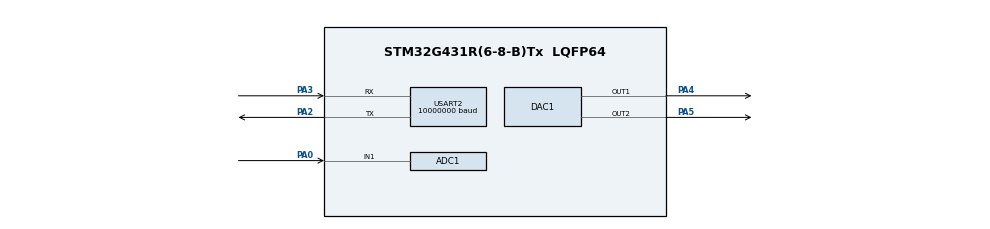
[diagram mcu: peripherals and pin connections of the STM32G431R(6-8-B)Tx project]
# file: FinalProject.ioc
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ADC1.Channel-1\#ChannelRegularConversion=ADC_CHANNEL_1
ADC1.ClockPrescaler=ADC_CLOCK_ASYNC_DIV1
ADC1.DMAContinuousRequests=ENABLE
ADC1.ExternalTrigConv=ADC_EXTERNALTRIG_T3_TRGO
ADC1.NbrOfConversionFlag=1
ADC1.OffsetNumber-1\#ChannelRegularConversion=ADC_OFFSET_NONE
ADC1.Rank-1\#ChannelRegularConversion=1
ADC1.SamplingTime-1\#ChannelRegularConversion=ADC_SAMPLETIME_2CYCLES_5
ADC1.master=1
DAC1.DAC_Channel-DAC_OUT2=DAC_CHANNEL_2
DAC1.DAC_OutputBuffer-DAC_OUT1=DAC_OUTPUTBUFFER_ENABLE
DAC1.DAC_OutputBuffer-DAC_OUT2=DAC_OUTPUTBUFFER_ENABLE
DAC1.DAC_Trigger_OUT1-DAC_OUT1=DAC_TRIGGER_T4_TRGO
DAC1.DAC_Trigger_OUT2-DAC_OUT2=DAC_TRIGGER_T8_TRGO
Dma.ADC1.1.Direction=DMA_PERIPH_TO_MEMORY
Dma.ADC1.1.EventEnable=DISABLE
Dma.ADC1.1.Instance=DMA1_Channel3
Dma.ADC1.1.MemDataAlignment=DMA_MDATAALIGN_HALFWORD
Dma.ADC1.1.MemInc=DMA_MINC_ENABLE
Dma.ADC1.1.Mode=DMA_CIRCULAR
Dma.ADC1.1.PeriphDataAlignment=DMA_PDATAALIGN_HALFWORD
Dma.ADC1.1.PeriphInc=DMA_PINC_DISABLE
Dma.ADC1.1.Polarity=HAL_DMAMUX_REQ_GEN_RISING
Dma.ADC1.1.Priority=DMA_PRIORITY_LOW
Dma.ADC1.1.RequestNumber=1
Dma.ADC1.1.SignalID=NONE
Dma.ADC1.1.SyncEnable=DISABLE
Dma.ADC1.1.SyncPolarity=HAL_DMAMUX_SYNC_NO_EVENT
Dma.ADC1.1.SyncRequestNumber=1
Dma.ADC1.1.SyncSignalID=NONE
Dma.DAC1_CH1.0.Direction=DMA_MEMORY_TO_PERIPH
Dma.DAC1_CH1.0.EventEnable=DISABLE
Dma.DAC1_CH1.0.Instance=DMA1_Channel1
Dma.DAC1_CH1.0.MemDataAlignment=DMA_MDATAALIGN_HALFWORD
Dma.DAC1_CH1.0.MemInc=DMA_MINC_ENABLE
Dma.DAC1_CH1.0.Mode=DMA_CIRCULAR
Dma.DAC1_CH1.0.PeriphDataAlignment=DMA_PDATAALIGN_WORD
Dma.DAC1_CH1.0.PeriphInc=DMA_PINC_DISABLE
Dma.DAC1_CH1.0.Polarity=HAL_DMAMUX_REQ_GEN_RISING
Dma.DAC1_CH1.0.Priority=DMA_PRIORITY_HIGH
Dma.DAC1_CH1.0.RequestNumber=1
Dma.DAC1_CH1.0.SignalID=NONE
Dma.DAC1_CH1.0.SyncEnable=DISABLE
Dma.DAC1_CH1.0.SyncPolarity=HAL_DMAMUX_SYNC_NO_EVENT
Dma.DAC1_CH1.0.SyncRequestNumber=1
Dma.DAC1_CH1.0.SyncSignalID=NONE
Dma.DAC1_CH2.2.Direction=DMA_MEMORY_TO_PERIPH
Dma.DAC1_CH2.2.EventEnable=DISABLE
Dma.DAC1_CH2.2.Instance=DMA1_Channel2
Dma.DAC1_CH2.2.MemDataAlignment=DMA_MDATAALIGN_HALFWORD
Dma.DAC1_CH2.2.MemInc=DMA_MINC_ENABLE
Dma.DAC1_CH2.2.Mode=DMA_CIRCULAR
Dma.DAC1_CH2.2.PeriphDataAlignment=DMA_PDATAALIGN_WORD
Dma.DAC1_CH2.2.PeriphInc=DMA_PINC_DISABLE
Dma.DAC1_CH2.2.Polarity=HAL_DMAMUX_REQ_GEN_RISING
Dma.DAC1_CH2.2.Priority=DMA_PRIORITY_HIGH
Dma.DAC1_CH2.2.RequestNumber=1
Dma.DAC1_CH2.2.SignalID=NONE
Dma.DAC1_CH2.2.SyncEnable=DISABLE
Dma.DAC1_CH2.2.SyncPolarity=HAL_DMAMUX_SYNC_NO_EVENT
Dma.DAC1_CH2.2.SyncRequestNumber=1
Dma.DAC1_CH2.2.SyncSignalID=NONE
Dma.Request0=DAC1_CH1
Dma.Request1=ADC1
Dma.Request2=DAC1_CH2
Mcu.Family=STM32G4
Mcu.Name=STM32G431R(6-8-B)Tx
Mcu.Package=LQFP64
NVIC.DMA1_Channel1_IRQn=true\:0\:0\:false\:false\:true\:false\:true\:true
NVIC.DMA1_Channel2_IRQn=true\:0\:0\:false\:false\:true\:false\:true\:true
NVIC.DMA1_Channel3_IRQn=true\:0\:0\:false\:false\:true\:false\:true\:true
NVIC.PriorityGroup=NVIC_PRIORITYGROUP_4
NVIC.USART2_IRQn=true\:0\:0\:true\:false\:true\:true\:true\:true
PA0.Mode=IN1-Single-Ended
PA0.Signal=ADC1_IN1
PA13.Mode=Serial_Wire
PA13.Signal=SYS_JTMS-SWDIO
PA14.Mode=Serial_Wire
PA14.Signal=SYS_JTCK-SWCLK
PA2.GPIO_PuPd=GPIO_PULLUP
PA2.GPIO_Speed=GPIO_SPEED_FREQ_LOW
PA2.Mode=Asynchronous
PA2.Signal=USART2_TX
PA3.GPIO_PuPd=GPIO_PULLUP
PA3.GPIO_Speed=GPIO_SPEED_FREQ_LOW
PA3.Mode=Asynchronous
PA3.Signal=USART2_RX
PA4.Signal=COMP_DAC11_group
PA5.Signal=COMP_DAC12_group
PF0-OSC_IN.Mode=HSE-External-Oscillator
PF0-OSC_IN.Signal=RCC_OSC_IN
PF1-OSC_OUT.Mode=HSE-External-Oscillator
PF1-OSC_OUT.Signal=RCC_OSC_OUT
ProjectManager.HeapSize=0x200
ProjectManager.StackSize=0x400
ProjectManager.TargetToolchain=STM32CubeIDE
RCC.ADC12CLockSelection=RCC_ADC12CLKSOURCE_PLL
RCC.ADC12Freq_Value=34000000
RCC.AHBFreq_Value=170000000
RCC.APB1Freq_Value=170000000
RCC.APB1TimFreq_Value=170000000
RCC.APB2Freq_Value=170000000
RCC.APB2TimFreq_Value=170000000
RCC.CortexFreq_Value=170000000
RCC.EXTERNAL_CLOCK_VALUE=12288000
RCC.HCLKFreq_Value=170000000
RCC.HSE_VALUE=24000000
RCC.HSI48_VALUE=48000000
RCC.HSI_VALUE=16000000
RCC.LSE_VALUE=32768
RCC.PLLM=RCC_PLLM_DIV6
RCC.PLLN=85
RCC.PLLP=RCC_PLLP_DIV10
RCC.PLLSourceVirtual=RCC_PLLSOURCE_HSE
RCC.SYSCLKFreq_VALUE=170000000
RCC.SYSCLKSource=RCC_SYSCLKSOURCE_PLLCLK
RCC.USBFreq_Value=170000000
RCC.VCOOutputFreq_Value=340000000
SH.COMP_DAC11_group.0=DAC1_OUT1,DAC_OUT1
SH.COMP_DAC12_group.0=DAC1_OUT2,DAC_OUT2
TIM3.PeriodNoDither=9
TIM3.Prescaler=169
TIM3.TIM_MasterOutputTrigger=TIM_TRGO_UPDATE
TIM4.PeriodNoDither=849
TIM4.Prescaler=0
TIM4.TIM_MasterOutputTrigger=TIM_TRGO_UPDATE
TIM8.PeriodNoDither=849
TIM8.Prescaler=0
TIM8.TIM_MasterOutputTrigger=TIM_TRGO_UPDATE
TIM8.TIM_MasterOutputTrigger2=TIM_TRGO2_RESET
USART2.AutoBaudRateEnableParam=UART_ADVFEATURE_AUTOBAUDRATE_DISABLE
USART2.BaudRate=10000000
USART2.FIFOMode=FIFOMODE_ENABLE
USART2.RXFIFOThreshold=RXFIFO_THRESHOLD_FULL
USART2.VirtualMode-Asynchronous=VM_ASYNC
VP_SYS_VS_DBSignals.Mode=DisableDeadBatterySignals
VP_TIM3_VS_ClockSourceINT.Mode=Internal
VP_TIM4_VS_ClockSourceINT.Mode=Internal
VP_TIM8_VS_ClockSourceINT.Mode=Internal
board=custom

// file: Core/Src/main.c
/* USER CODE BEGIN Header */
/**
 ******************************************************************************
 * @file           : main.c
 * @brief          : Main program body
 ******************************************************************************
 * @attention
 *
 * Copyright (c) 2024 STMicroelectronics.
 * All rights reserved.
 *
 * This software is licensed under terms that can be found in the LICENSE file
 * in the root directory of this software component.
 * If no LICENSE file comes with this software, it is provided AS-IS.
 *
 ******************************************************************************
 */
/* USER CODE END Header */
#include "main.h"

/* USER CODE BEGIN PD */
//------------------------------------------------
#define ADC_CONVERTED_DATA_BUFFER_SIZE (uint16_t) 2000
#define DAC_BUFFER_SIZE (uint16_t) 200

#define RXBUFFERSIZE 20
//#define NUM_CHANNELS 2
//------------------------------------------------

/* USER CODE END PD */

ADC_HandleTypeDef hadc1;
DMA_HandleTypeDef hdma_adc1;

DAC_HandleTypeDef hdac1;
DMA_HandleTypeDef hdma_dac1_ch1;
DMA_HandleTypeDef hdma_dac1_ch2;

TIM_HandleTypeDef htim3;
TIM_HandleTypeDef htim4;
TIM_HandleTypeDef htim8;

UART_HandleTypeDef huart2;

/* USER CODE BEGIN PV */
//------------------------------------------------
uint16_t ADC1ConvertedValue = 0;
int i = 0;

//基波
uint16_t SineWaveData[DAC_BUFFER_SIZE ] = { 2047, 2112, 2176, 2240, 2304, 2368,
		2431, 2494, 2557, 2619, 2680, 2741, 2801, 2860, 2919, 2977, 3034, 3090,
		3144, 3198, 3251, 3302, 3352, 3401, 3449, 3495, 3540, 3583, 3625, 3665,
		3704, 3741, 3776, 3809, 3841, 3871, 3900, 3926, 3951, 3973, 3994, 4013,
		4030, 4045, 4058, 4069, 4078, 4085, 4090, 4093, 4094, 4093, 4090, 4085,
		4078, 4069, 4058, 4045, 4030, 4013, 3994, 3973, 3951, 3926, 3900, 3871,
		3841, 3809, 3776, 3741, 3704, 3665, 3625, 3583, 3540, 3495, 3449, 3401,
		3352, 3302, 3251, 3198, 3144, 3090, 3034, 2977, 2919, 2860, 2801, 2741,
		2680, 2619, 2557, 2494, 2431, 2368, 2304, 2240, 2176, 2112, 2048, 1983,
		1919, 1855, 1791, 1727, 1664, 1601, 1538, 1476, 1415, 1354, 1294, 1235,
		1176, 1118, 1061, 1005, 951, 897, 844, 793, 743, 694, 646, 600, 555,
		512, 470, 430, 391, 354, 319, 286, 254, 224, 195, 169, 144, 122, 101,
		82, 65, 50, 37, 26, 17, 10, 5, 2, 0, 2, 5, 10, 17, 26, 37, 50, 65, 82,
		101, 122, 144, 169, 195, 224, 254, 286, 319, 354, 391, 430, 470, 512,
		555, 600, 646, 694, 743, 793, 844, 897, 951, 1005, 1061, 1118, 1176,
		1235, 1294, 1354, 1415, 1476, 1538, 1601, 1664, 1727, 1791, 1855, 1919,
		1983 };

//3次諧波
uint16_t SineWaveData_3rdHarmonic[DAC_BUFFER_SIZE ] = { 2047, 2147, 2246, 2344,
		2441, 2536, 2629, 2718, 2805, 2888, 2968, 3043, 3113, 3179, 3240, 3296,
		3347, 3393, 3433, 3467, 3497, 3521, 3540, 3554, 3563, 3567, 3567, 3564,
		3556, 3545, 3530, 3514, 3494, 3473, 3450, 3427, 3402, 3377, 3352, 3328,
		3304, 3282, 3261, 3241, 3224, 3209, 3196, 3186, 3179, 3175, 3173, 3175,
		3179, 3186, 3196, 3209, 3224, 3241, 3261, 3282, 3304, 3328, 3352, 3377,
		3402, 3427, 3450, 3473, 3494, 3514, 3530, 3545, 3556, 3564, 3567, 3567,
		3563, 3554, 3540, 3521, 3497, 3467, 3433, 3393, 3347, 3296, 3240, 3179,
		3113, 3043, 2968, 2888, 2805, 2718, 2629, 2536, 2441, 2344, 2246, 2147,
		2048, 1948, 1849, 1751, 1654, 1559, 1466, 1377, 1290, 1207, 1127, 1052,
		982, 916, 855, 799, 748, 702, 662, 628, 598, 574, 555, 541, 532, 528,
		528, 531, 539, 550, 565, 581, 601, 622, 645, 668, 693, 718, 743, 767,
		791, 813, 834, 854, 871, 886, 899, 909, 916, 920, 922, 920, 916, 909,
		899, 886, 871, 854, 834, 813, 791, 767, 743, 718, 693, 668, 645, 622,
		601, 581, 565, 550, 539, 531, 528, 528, 532, 541, 555, 574, 598, 628,
		662, 702, 748, 799, 855, 916, 982, 1052, 1127, 1207, 1290, 1377, 1466,
		1559, 1654, 1751, 1849, 1948 };

//5次諧波
uint16_t SineWaveData_5thHarmonic[DAC_BUFFER_SIZE ] = { 2047, 2179, 2308, 2434,
		2554, 2666, 2768, 2861, 2941, 3010, 3065, 3108, 3137, 3154, 3159, 3153,
		3137, 3113, 3083, 3048, 3010, 2971, 2933, 2898, 2868, 2844, 2827, 2820,
		2823, 2836, 2861, 2896, 2943, 3001, 3069, 3145, 3228, 3318, 3412, 3508,
		3605, 3700, 3792, 3878, 3957, 4027, 4086, 4134, 4169, 4190, 4197, 4190,
		4169, 4134, 4086, 4027, 3957, 3878, 3792, 3700, 3605, 3508, 3412, 3318,
		3228, 3145, 3069, 3001, 2943, 2896, 2861, 2836, 2823, 2820, 2827, 2844,
		2868, 2898, 2933, 2971, 3010, 3048, 3083, 3113, 3137, 3153, 3159, 3154,
		3137, 3108, 3065, 3010, 2941, 2861, 2768, 2666, 2554, 2434, 2308, 2179,
		2048, 1916, 1787, 1661, 1541, 1429, 1327, 1234, 1154, 1085, 1030, 987,
		958, 941, 936, 942, 958, 982, 1012, 1047, 1085, 1124, 1162, 1197, 1227,
		1251, 1268, 1275, 1272, 1259, 1234, 1199, 1152, 1094, 1026, 950, 867,
		777, 683, 587, 490, 395, 303, 217, 138, 68, 9, -39, -74, -95, -102, -95,
		-74, -39, 9, 68, 138, 217, 303, 395, 490, 587, 683, 777, 867, 950, 1026,
		1094, 1152, 1199, 1234, 1259, 1272, 1275, 1268, 1251, 1227, 1197, 1162,
		1124, 1085, 1047, 1012, 982, 958, 942, 936, 941, 958, 987, 1030, 1085,
		1154, 1234, 1327, 1429, 1541, 1661, 1787, 1916 };

//7次諧波
uint16_t SineWaveData_7thHarmonic[DAC_BUFFER_SIZE ] = { 2047, 2211, 2368, 2515,
		2647, 2760, 2850, 2916, 2957, 2974, 2968, 2941, 2897, 2841, 2777, 2711,
		2648, 2593, 2552, 2527, 2523, 2542, 2584, 2649, 2736, 2844, 2967, 3103,
		3245, 3390, 3530, 3662, 3780, 3880, 3958, 4012, 4040, 4042, 4019, 3972,
		3906, 3823, 3730, 3630, 3529, 3433, 3346, 3273, 3219, 3185, 3173, 3185,
		3219, 3273, 3346, 3433, 3529, 3630, 3730, 3823, 3906, 3972, 4019, 4042,
		4040, 4012, 3958, 3880, 3780, 3662, 3530, 3390, 3245, 3103, 2967, 2844,
		2736, 2649, 2584, 2542, 2523, 2527, 2552, 2593, 2648, 2711, 2777, 2841,
		2897, 2941, 2968, 2974, 2957, 2916, 2850, 2760, 2647, 2515, 2368, 2211,
		2047, 1884, 1727, 1580, 1448, 1335, 1245, 1179, 1138, 1121, 1127, 1154,
		1198, 1254, 1318, 1384, 1447, 1502, 1543, 1568, 1572, 1553, 1511, 1446,
		1359, 1251, 1128, 992, 850, 705, 565, 433, 315, 215, 137, 83, 55, 53,
		76, 123, 189, 272, 365, 465, 566, 662, 749, 822, 876, 910, 922, 910,
		876, 822, 749, 662, 566, 465, 365, 272, 189, 123, 76, 53, 55, 83, 137,
		215, 315, 433, 565, 705, 850, 992, 1128, 1251, 1359, 1446, 1511, 1553,
		1572, 1568, 1543, 1502, 1447, 1384, 1318, 1254, 1198, 1154, 1127, 1121,
		1138, 1179, 1245, 1335, 1448, 1580, 1727, 1884 };

//9次諧波
uint16_t SineWaveData_9thHarmonic[DAC_BUFFER_SIZE ] = { 2047, 2242, 2425, 2585,
		2716, 2809, 2862, 2874, 2849, 2792, 2712, 2618, 2523, 2437, 2372, 2335,
		2334, 2372, 2449, 2564, 2709, 2878, 3059, 3242, 3415, 3567, 3690, 3775,
		3820, 3823, 3786, 3716, 3619, 3505, 3387, 3274, 3179, 3110, 3074, 3077,
		3118, 3197, 3307, 3442, 3592, 3745, 3890, 4016, 4114, 4176, 4197, 4176,
		4114, 4016, 3890, 3745, 3592, 3442, 3307, 3197, 3118, 3077, 3074, 3110,
		3179, 3274, 3387, 3505, 3619, 3716, 3786, 3823, 3820, 3775, 3690, 3567,
		3415, 3242, 3059, 2878, 2709, 2564, 2449, 2372, 2334, 2335, 2372, 2437,
		2523, 2618, 2712, 2792, 2849, 2874, 2862, 2809, 2716, 2585, 2425, 2242,
		2048, 1853, 1670, 1510, 1379, 1286, 1233, 1221, 1246, 1303, 1383, 1477,
		1572, 1658, 1723, 1760, 1761, 1723, 1646, 1531, 1386, 1217, 1036, 853,
		680, 528, 405, 320, 275, 272, 309, 379, 476, 590, 708, 821, 916, 985,
		1021, 1018, 977, 898, 788, 653, 503, 350, 205, 79, -19, -81, -102, -81,
		-19, 79, 205, 350, 503, 653, 788, 898, 977, 1018, 1021, 985, 916, 821,
		708, 590, 476, 379, 309, 272, 275, 320, 405, 528, 680, 853, 1036, 1217,
		1386, 1531, 1646, 1723, 1761, 1760, 1723, 1658, 1572, 1477, 1383, 1303,
		1246, 1221, 1233, 1286, 1379, 1510, 1670, 1853 };

//方波
uint16_t SquareWaveData[DAC_BUFFER_SIZE ] = { 2047, 4094, 4094, 4094, 4094,
		4094, 4094, 4094, 4094, 4094, 4094, 4094, 4094, 4094, 4094, 4094, 4094,
		4094, 4094, 4094, 4094, 4094, 4094, 4094, 4094, 4094, 4094, 4094, 4094,
		4094, 4094, 4094, 4094, 4094, 4094, 4094, 4094, 4094, 4094, 4094, 4094,
		4094, 4094, 4094, 4094, 4094, 4094, 4094, 4094, 4094, 4094, 4094, 4094,
		4094, 4094, 4094, 4094, 4094, 4094, 4094, 4094, 4094, 4094, 4094, 4094,
		4094, 4094, 4094, 4094, 4094, 4094, 4094, 4094, 4094, 4094, 4094, 4094,
		4094, 4094, 4094, 4094, 4094, 4094, 4094, 4094, 4094, 4094, 4094, 4094,
		4094, 4094, 4094, 4094, 4094, 4094, 4094, 4094, 4094, 4094, 4094, 4094,
		0, 0, 0, 0, 0, 0, 0, 0, 0, 0, 0, 0, 0, 0, 0, 0, 0, 0, 0, 0, 0, 0, 0, 0,
		0, 0, 0, 0, 0, 0, 0, 0, 0, 0, 0, 0, 0, 0, 0, 0, 0, 0, 0, 0, 0, 0, 0, 0,
		0, 0, 0, 0, 0, 0, 0, 0, 0, 0, 0, 0, 0, 0, 0, 0, 0, 0, 0, 0, 0, 0, 0, 0,
		0, 0, 0, 0, 0, 0, 0, 0, 0, 0, 0, 0, 0, 0, 0, 0, 0, 0, 0, 0, 0, 0, 0, 0,
		0, 0, 0 };

//三角波
uint16_t TriangleWaveData[DAC_BUFFER_SIZE ] = { 0, 41, 82, 123, 164, 205, 246,
		287, 328, 369, 410, 451, 492, 533, 574, 615, 656, 696, 737, 778, 819,
		860, 901, 942, 983, 1024, 1065, 1106, 1147, 1188, 1229, 1270, 1311,
		1352, 1392, 1433, 1474, 1515, 1556, 1597, 1638, 1679, 1720, 1761, 1802,
		1843, 1884, 1925, 1966, 2007, 2048, 2088, 2129, 2170, 2211, 2252, 2293,
		2334, 2375, 2416, 2457, 2498, 2539, 2580, 2621, 2662, 2703, 2743, 2784,
		2825, 2866, 2907, 2948, 2989, 3030, 3071, 3112, 3153, 3194, 3235, 3276,
		3317, 3358, 3399, 3439, 3480, 3521, 3562, 3603, 3644, 3685, 3726, 3767,
		3808, 3849, 3890, 3931, 3972, 4013, 4054, 4094, 4054, 4013, 3972, 3931,
		3890, 3849, 3808, 3767, 3726, 3685, 3644, 3603, 3562, 3521, 3480, 3439,
		3399, 3358, 3317, 3276, 3235, 3194, 3153, 3112, 3071, 3030, 2989, 2948,
		2907, 2866, 2825, 2784, 2743, 2703, 2662, 2621, 2580, 2539, 2498, 2457,
		2416, 2375, 2334, 2293, 2252, 2211, 2170, 2129, 2088, 2047, 2007, 1966,
		1925, 1884, 1843, 1802, 1761, 1720, 1679, 1638, 1597, 1556, 1515, 1474,
		1433, 1392, 1352, 1311, 1270, 1229, 1188, 1147, 1106, 1065, 1024, 983,
		942, 901, 860, 819, 778, 737, 696, 656, 615, 574, 533, 492, 451, 410,
		369, 328, 287, 246, 205, 164, 123, 82, 41 };

uint16_t WaveData[DAC_BUFFER_SIZE ] = { 0 };
uint16_t Channel = 0;

uint16_t ADC1ConvertedData[ADC_CONVERTED_DATA_BUFFER_SIZE ];
uint16_t FrameHeader = 0x5353;
uint16_t FrameTerm = 0x4545;

uint8_t CommFlag = 0;
uint8_t RxBuffer[RXBUFFERSIZE] = { 0 };

//初值
uint16_t Ch1_Amp = 2024;
uint16_t Ch1_Freq = 1000;
uint16_t Ch1_Phrase = 0;
uint16_t Ch1_Har3 = 0;
uint16_t Ch1_Har5 = 0;
uint16_t Ch1_Har7 = 0;
uint16_t Ch1_Har9 = 0;
uint16_t Ch1_Type = 0;

uint16_t Ch2_Amp = 4096;
uint16_t Ch2_Freq = 10000;
uint16_t Ch2_Phrase = 0;
uint16_t Ch2_Har3 = 0;
uint16_t Ch2_Har5 = 0;
uint16_t Ch2_Har7 = 0;
uint16_t Ch2_Har9 = 0;
uint16_t Ch2_Type = 1;
//------------------------------------------------

/* USER CODE END PV */

void SystemClock_Config(void);
static void MX_GPIO_Init(void);
static void MX_DMA_Init(void);
static void MX_DAC1_Init(void);
static void MX_ADC1_Init(void);
static void MX_TIM4_Init(void);
static void MX_USART2_UART_Init(void);
static void MX_TIM3_Init(void);
static void MX_TIM8_Init(void);

int main(void) {

	/* MCU Configuration--------------------------------------------------------*/

	/* Reset of all peripherals, Initializes the Flash interface and the Systick. */
	HAL_Init();

	/* Configure the system clock */
	SystemClock_Config();

	/* Initialize all configured peripherals */
	MX_GPIO_Init();
	MX_DMA_Init();
	MX_DAC1_Init();
	MX_ADC1_Init();
	MX_TIM4_Init();
	MX_USART2_UART_Init();
	MX_TIM3_Init();
	MX_TIM8_Init();
	/* USER CODE BEGIN 2 */
	HAL_TIM_Base_Start(&htim3);
	HAL_TIM_Base_Start(&htim4);
	HAL_DAC_Start_DMA(&hdac1, DAC_CHANNEL_1, (uint32_t*) SineWaveData,
	DAC_BUFFER_SIZE, DAC_ALIGN_12B_R);
	HAL_ADCEx_Calibration_Start(&hadc1, ADC_SINGLE_ENDED);
	HAL_ADC_Start_DMA(&hadc1, (uint32_t*) &ADC1ConvertedData,
	ADC_CONVERTED_DATA_BUFFER_SIZE);

	HAL_UART_Receive_IT(&huart2, (uint8_t*) RxBuffer, RXBUFFERSIZE);

	/* USER CODE END 2 */

	/* Infinite loop */
	/* USER CODE BEGIN WHILE */
	//printf("Please Enter What Type of Wave You Want:\r\n");
	while (1) {
		/* USER CODE END WHILE */

		/* USER CODE BEGIN 3 */
		//------------------------------------------------
		if (CommFlag == 1) {
			// Channel输出波形
			if (Channel == 0) {
				// 停止定时器，设置定时器频率并重新启动
				HAL_TIM_Base_Stop(&htim4);
				__HAL_TIM_SET_AUTORELOAD(&htim4, 850000.0 / Ch1_Freq - 1);
				HAL_TIM_Base_Start(&htim4);

				// 停止DAC通道1的DMA传输
				HAL_DAC_Stop_DMA(&hdac1, DAC_CHANNEL_1);

				// 生成不同的波形数据
				for (i = 0; i < DAC_BUFFER_SIZE ; i++) {
					switch (Ch1_Type) {
					case 0: // 正弦波加谐波
						WaveData[i] = (uint16_t) (Ch1_Amp / 4095.0
								* (SineWaveData[i]
										+ Ch1_Har3 * 0.01
												* SineWaveData_3rdHarmonic[i]
										+ Ch1_Har5 * 0.01
												* SineWaveData_5thHarmonic[i]
										+ Ch1_Har7 * 0.01
												* SineWaveData_7thHarmonic[i]
										+ Ch1_Har9 * 0.01
												* SineWaveData_9thHarmonic[i]));
						break;
					case 1: // 方波
						WaveData[i] = (uint16_t) (Ch1_Amp / 4095.0
								* SquareWaveData[i]);
						break;
					case 2: // 三角波
						WaveData[i] = (uint16_t) (Ch1_Amp / 4095.0
								* TriangleWaveData[i]);
						break;
					default:
						break;
					}
				}

				HAL_Delay(50);
				HAL_DAC_Start_DMA(&hdac1, DAC_CHANNEL_1, (uint32_t*) WaveData,
						DAC_BUFFER_SIZE, DAC_ALIGN_12B_R);

				// Channel输出波形
			} else if (Channel == 1) {
				// 停止定时器，设置定时器频率并重新启动
				HAL_TIM_Base_Stop(&htim8);
				__HAL_TIM_SET_AUTORELOAD(&htim8, 850000.0 / Ch2_Freq - 1);
				HAL_TIM_Base_Start(&htim8);

				// 停止DAC通道2的DMA传输
				HAL_DAC_Stop_DMA(&hdac1, DAC_CHANNEL_2);

				// 生成不同的波形数据
				for (i = 0; i < DAC_BUFFER_SIZE ; i++) {
					switch (Ch2_Type) {
					case 0: // 正弦波加谐波
						WaveData[i] = (uint16_t) (Ch2_Amp / 4095.0
								* (SineWaveData[i]
										+ Ch2_Har3 * 0.01
												* SineWaveData_3rdHarmonic[i]
										+ Ch2_Har5 * 0.01
												* SineWaveData_5thHarmonic[i]
										+ Ch2_Har7 * 0.01
												* SineWaveData_7thHarmonic[i]
										+ Ch2_Har9 * 0.01
												* SineWaveData_9thHarmonic[i]));
						break;
					case 1: // 方波
						WaveData[i] = (uint16_t) (Ch2_Amp / 4095.0
								* SquareWaveData[i]);
						break;
					case 2: // 三角波
						WaveData[i] = (uint16_t) (Ch2_Amp / 4095.0
								* TriangleWaveData[i]);
						break;
					default:
						break;
					}
				}

				HAL_Delay(50);
				HAL_DAC_Start_DMA(&hdac1, DAC_CHANNEL_2, (uint32_t*) WaveData,
						DAC_BUFFER_SIZE, DAC_ALIGN_12B_R);
			}
			CommFlag = 0;
		}

	//------------------------------------------------
}

/* USER CODE END 3 */
}

void SystemClock_Config(void) {
RCC_OscInitTypeDef RCC_OscInitStruct = { 0 };
RCC_ClkInitTypeDef RCC_ClkInitStruct = { 0 };

/** Configure the main internal regulator output voltage
 */
HAL_PWREx_ControlVoltageScaling(PWR_REGULATOR_VOLTAGE_SCALE1_BOOST);

/** Initializes the RCC Oscillators according to the specified parameters
 * in the RCC_OscInitTypeDef structure.
 */
RCC_OscInitStruct.OscillatorType = RCC_OSCILLATORTYPE_HSE;
RCC_OscInitStruct.HSEState = RCC_HSE_ON;
RCC_OscInitStruct.PLL.PLLState = RCC_PLL_ON;
RCC_OscInitStruct.PLL.PLLSource = RCC_PLLSOURCE_HSE;
RCC_OscInitStruct.PLL.PLLM = RCC_PLLM_DIV6;
RCC_OscInitStruct.PLL.PLLN = 85;
RCC_OscInitStruct.PLL.PLLP = RCC_PLLP_DIV10;
RCC_OscInitStruct.PLL.PLLQ = RCC_PLLQ_DIV2;
RCC_OscInitStruct.PLL.PLLR = RCC_PLLR_DIV2;
if (HAL_RCC_OscConfig(&RCC_OscInitStruct) != HAL_OK) {
	Error_Handler();
}

/** Initializes the CPU, AHB and APB buses clocks
 */
RCC_ClkInitStruct.ClockType = RCC_CLOCKTYPE_HCLK | RCC_CLOCKTYPE_SYSCLK
		| RCC_CLOCKTYPE_PCLK1 | RCC_CLOCKTYPE_PCLK2;
RCC_ClkInitStruct.SYSCLKSource = RCC_SYSCLKSOURCE_PLLCLK;
RCC_ClkInitStruct.AHBCLKDivider = RCC_SYSCLK_DIV1;
RCC_ClkInitStruct.APB1CLKDivider = RCC_HCLK_DIV1;
RCC_ClkInitStruct.APB2CLKDivider = RCC_HCLK_DIV1;

if (HAL_RCC_ClockConfig(&RCC_ClkInitStruct, FLASH_LATENCY_4) != HAL_OK) {
	Error_Handler();
}
}

static void MX_ADC1_Init(void) {

ADC_MultiModeTypeDef multimode = { 0 };
ADC_ChannelConfTypeDef sConfig = { 0 };

/** Common config
 */
hadc1.Instance = ADC1;
hadc1.Init.ClockPrescaler = ADC_CLOCK_ASYNC_DIV1;
hadc1.Init.Resolution = ADC_RESOLUTION_12B;
hadc1.Init.DataAlign = ADC_DATAALIGN_RIGHT;
hadc1.Init.GainCompensation = 0;
hadc1.Init.ScanConvMode = ADC_SCAN_DISABLE;
hadc1.Init.EOCSelection = ADC_EOC_SINGLE_CONV;
hadc1.Init.LowPowerAutoWait = DISABLE;
hadc1.Init.ContinuousConvMode = DISABLE;
hadc1.Init.NbrOfConversion = 1;
hadc1.Init.DiscontinuousConvMode = DISABLE;
hadc1.Init.ExternalTrigConv = ADC_EXTERNALTRIG_T3_TRGO;
hadc1.Init.ExternalTrigConvEdge = ADC_EXTERNALTRIGCONVEDGE_RISING;
hadc1.Init.DMAContinuousRequests = ENABLE;
hadc1.Init.Overrun = ADC_OVR_DATA_PRESERVED;
hadc1.Init.OversamplingMode = DISABLE;
if (HAL_ADC_Init(&hadc1) != HAL_OK) {
	Error_Handler();
}

/** Configure the ADC multi-mode
 */
multimode.Mode = ADC_MODE_INDEPENDENT;
if (HAL_ADCEx_MultiModeConfigChannel(&hadc1, &multimode) != HAL_OK) {
	Error_Handler();
}

/** Configure Regular Channel
 */
sConfig.Channel = ADC_CHANNEL_1;
sConfig.Rank = ADC_REGULAR_RANK_1;
sConfig.SamplingTime = ADC_SAMPLETIME_2CYCLES_5;
sConfig.SingleDiff = ADC_SINGLE_ENDED;
sConfig.OffsetNumber = ADC_OFFSET_NONE;
sConfig.Offset = 0;
if (HAL_ADC_ConfigChannel(&hadc1, &sConfig) != HAL_OK) {
	Error_Handler();
}

}

static void MX_DAC1_Init(void) {

DAC_ChannelConfTypeDef sConfig = { 0 };

/** DAC Initialization
 */
hdac1.Instance = DAC1;
if (HAL_DAC_Init(&hdac1) != HAL_OK) {
	Error_Handler();
}

/** DAC channel OUT1 config
 */
sConfig.DAC_HighFrequency = DAC_HIGH_FREQUENCY_INTERFACE_MODE_AUTOMATIC;
sConfig.DAC_DMADoubleDataMode = DISABLE;
sConfig.DAC_SignedFormat = DISABLE;
sConfig.DAC_SampleAndHold = DAC_SAMPLEANDHOLD_DISABLE;
sConfig.DAC_Trigger = DAC_TRIGGER_T4_TRGO;
sConfig.DAC_Trigger2 = DAC_TRIGGER_NONE;
sConfig.DAC_OutputBuffer = DAC_OUTPUTBUFFER_ENABLE;
sConfig.DAC_ConnectOnChipPeripheral = DAC_CHIPCONNECT_EXTERNAL;
sConfig.DAC_UserTrimming = DAC_TRIMMING_FACTORY;
if (HAL_DAC_ConfigChannel(&hdac1, &sConfig, DAC_CHANNEL_1) != HAL_OK) {
	Error_Handler();
}

/** DAC channel OUT2 config
 */
sConfig.DAC_Trigger = DAC_TRIGGER_T8_TRGO;
if (HAL_DAC_ConfigChannel(&hdac1, &sConfig, DAC_CHANNEL_2) != HAL_OK) {
	Error_Handler();
}

}

static void MX_TIM3_Init(void) {

TIM_ClockConfigTypeDef sClockSourceConfig = { 0 };
TIM_MasterConfigTypeDef sMasterConfig = { 0 };

htim3.Instance = TIM3;
htim3.Init.Prescaler = 169;
htim3.Init.CounterMode = TIM_COUNTERMODE_UP;
htim3.Init.Period = 9;
htim3.Init.ClockDivision = TIM_CLOCKDIVISION_DIV1;
htim3.Init.AutoReloadPreload = TIM_AUTORELOAD_PRELOAD_DISABLE;
if (HAL_TIM_Base_Init(&htim3) != HAL_OK) {
	Error_Handler();
}
sClockSourceConfig.ClockSource = TIM_CLOCKSOURCE_INTERNAL;
if (HAL_TIM_ConfigClockSource(&htim3, &sClockSourceConfig) != HAL_OK) {
	Error_Handler();
}
sMasterConfig.MasterOutputTrigger = TIM_TRGO_UPDATE;
sMasterConfig.MasterSlaveMode = TIM_MASTERSLAVEMODE_DISABLE;
if (HAL_TIMEx_MasterConfigSynchronization(&htim3, &sMasterConfig) != HAL_OK) {
	Error_Handler();
}

}

static void MX_TIM4_Init(void) {

TIM_ClockConfigTypeDef sClockSourceConfig = { 0 };
TIM_MasterConfigTypeDef sMasterConfig = { 0 };

htim4.Instance = TIM4;
htim4.Init.Prescaler = 0;
htim4.Init.CounterMode = TIM_COUNTERMODE_UP;
htim4.Init.Period = 849;
htim4.Init.ClockDivision = TIM_CLOCKDIVISION_DIV1;
htim4.Init.AutoReloadPreload = TIM_AUTORELOAD_PRELOAD_DISABLE;
if (HAL_TIM_Base_Init(&htim4) != HAL_OK) {
	Error_Handler();
}
sClockSourceConfig.ClockSource = TIM_CLOCKSOURCE_INTERNAL;
if (HAL_TIM_ConfigClockSource(&htim4, &sClockSourceConfig) != HAL_OK) {
	Error_Handler();
}
sMasterConfig.MasterOutputTrigger = TIM_TRGO_UPDATE;
sMasterConfig.MasterSlaveMode = TIM_MASTERSLAVEMODE_DISABLE;
if (HAL_TIMEx_MasterConfigSynchronization(&htim4, &sMasterConfig) != HAL_OK) {
	Error_Handler();
}

}

static void MX_TIM8_Init(void) {

TIM_ClockConfigTypeDef sClockSourceConfig = { 0 };
TIM_MasterConfigTypeDef sMasterConfig = { 0 };

htim8.Instance = TIM8;
htim8.Init.Prescaler = 0;
htim8.Init.CounterMode = TIM_COUNTERMODE_UP;
htim8.Init.Period = 849;
htim8.Init.ClockDivision = TIM_CLOCKDIVISION_DIV1;
htim8.Init.RepetitionCounter = 0;
htim8.Init.AutoReloadPreload = TIM_AUTORELOAD_PRELOAD_DISABLE;
if (HAL_TIM_Base_Init(&htim8) != HAL_OK) {
	Error_Handler();
}
sClockSourceConfig.ClockSource = TIM_CLOCKSOURCE_INTERNAL;
if (HAL_TIM_ConfigClockSource(&htim8, &sClockSourceConfig) != HAL_OK) {
	Error_Handler();
}
sMasterConfig.MasterOutputTrigger = TIM_TRGO_UPDATE;
sMasterConfig.MasterOutputTrigger2 = TIM_TRGO2_RESET;
sMasterConfig.MasterSlaveMode = TIM_MASTERSLAVEMODE_DISABLE;
if (HAL_TIMEx_MasterConfigSynchronization(&htim8, &sMasterConfig) != HAL_OK) {
	Error_Handler();
}

}

static void MX_USART2_UART_Init(void) {

huart2.Instance = USART2;
huart2.Init.BaudRate = 10000000;
huart2.Init.WordLength = UART_WORDLENGTH_8B;
huart2.Init.StopBits = UART_STOPBITS_1;
huart2.Init.Parity = UART_PARITY_NONE;
huart2.Init.Mode = UART_MODE_TX_RX;
huart2.Init.HwFlowCtl = UART_HWCONTROL_NONE;
huart2.Init.OverSampling = UART_OVERSAMPLING_16;
huart2.Init.OneBitSampling = UART_ONE_BIT_SAMPLE_DISABLE;
huart2.Init.ClockPrescaler = UART_PRESCALER_DIV1;
huart2.AdvancedInit.AdvFeatureInit = UART_ADVFEATURE_NO_INIT;
if (HAL_UART_Init(&huart2) != HAL_OK) {
	Error_Handler();
}
if (HAL_UARTEx_SetTxFifoThreshold(&huart2, UART_TXFIFO_THRESHOLD_1_8)
		!= HAL_OK) {
	Error_Handler();
}
if (HAL_UARTEx_SetRxFifoThreshold(&huart2, UART_RXFIFO_THRESHOLD_8_8)
		!= HAL_OK) {
	Error_Handler();
}
if (HAL_UARTEx_EnableFifoMode(&huart2) != HAL_OK) {
	Error_Handler();
}

}

static void MX_DMA_Init(void) {

/* DMA controller clock enable */
__HAL_RCC_DMAMUX1_CLK_ENABLE();
__HAL_RCC_DMA1_CLK_ENABLE();

/* DMA interrupt init */
/* DMA1_Channel1_IRQn interrupt configuration */
HAL_NVIC_SetPriority(DMA1_Channel1_IRQn, 0, 0);
HAL_NVIC_EnableIRQ(DMA1_Channel1_IRQn);
/* DMA1_Channel2_IRQn interrupt configuration */
HAL_NVIC_SetPriority(DMA1_Channel2_IRQn, 0, 0);
HAL_NVIC_EnableIRQ(DMA1_Channel2_IRQn);
/* DMA1_Channel3_IRQn interrupt configuration */
HAL_NVIC_SetPriority(DMA1_Channel3_IRQn, 0, 0);
HAL_NVIC_EnableIRQ(DMA1_Channel3_IRQn);

}

static void MX_GPIO_Init(void) {

/* GPIO Ports Clock Enable */
__HAL_RCC_GPIOF_CLK_ENABLE();
__HAL_RCC_GPIOA_CLK_ENABLE();

}

/* USER CODE BEGIN 4 */
//------------------------------------------------
void HAL_ADC_ConvCpltCallback(ADC_HandleTypeDef *AdcHandle) {
//  HAL_UART_Transmit(&huart2, (uint8_t*) &FrameHeader, 2, 0xFFFF);
HAL_UART_Transmit(&huart2, (uint8_t*) &ADC1ConvertedData,
ADC_CONVERTED_DATA_BUFFER_SIZE * 2, 0xFFFF);
//  HAL_UART_Transmit(&huart2, (uint8_t*) &FrameTerm, 2, 0xFFFF);
}

void HAL_UART_RxCpltCallback(UART_HandleTypeDef *huart) {

CommFlag = 1;
Channel = (RxBuffer[2] << 8) | RxBuffer[1];
if (Channel == 0) {
	Ch1_Amp = (RxBuffer[4] << 8) | RxBuffer[3];
	Ch1_Freq = (RxBuffer[6] << 8) | RxBuffer[5];
	Ch1_Phrase = (RxBuffer[8] << 8) | RxBuffer[7];
	Ch1_Har3 = (RxBuffer[10] << 8) | RxBuffer[9];
	Ch1_Har5 = (RxBuffer[12] << 8) | RxBuffer[11];
	Ch1_Har7 = (RxBuffer[14] << 8) | RxBuffer[13];
	Ch1_Har9 = (RxBuffer[16] << 8) | RxBuffer[15];
	Ch1_Type = (RxBuffer[18] << 8) | RxBuffer[17];
} else if (Channel == 1) {
	Ch2_Amp = (RxBuffer[4] << 8) | RxBuffer[3];
	Ch2_Freq = (RxBuffer[6] << 8) | RxBuffer[5];
	Ch2_Phrase = (RxBuffer[8] << 8) | RxBuffer[7];
	Ch2_Har3 = (RxBuffer[10] << 8) | RxBuffer[9];
	Ch2_Har5 = (RxBuffer[12] << 8) | RxBuffer[11];
	Ch2_Har7 = (RxBuffer[14] << 8) | RxBuffer[13];
	Ch2_Har9 = (RxBuffer[16] << 8) | RxBuffer[15];
	Ch2_Type = (RxBuffer[18] << 8) | RxBuffer[17];
}

HAL_UART_Receive_IT(&huart2, (uint8_t*) RxBuffer, RXBUFFERSIZE);
}

//------------------------------------------------

/* USER CODE END 4 */

void Error_Handler(void) {
__disable_irq();
while (1) {
}
}
